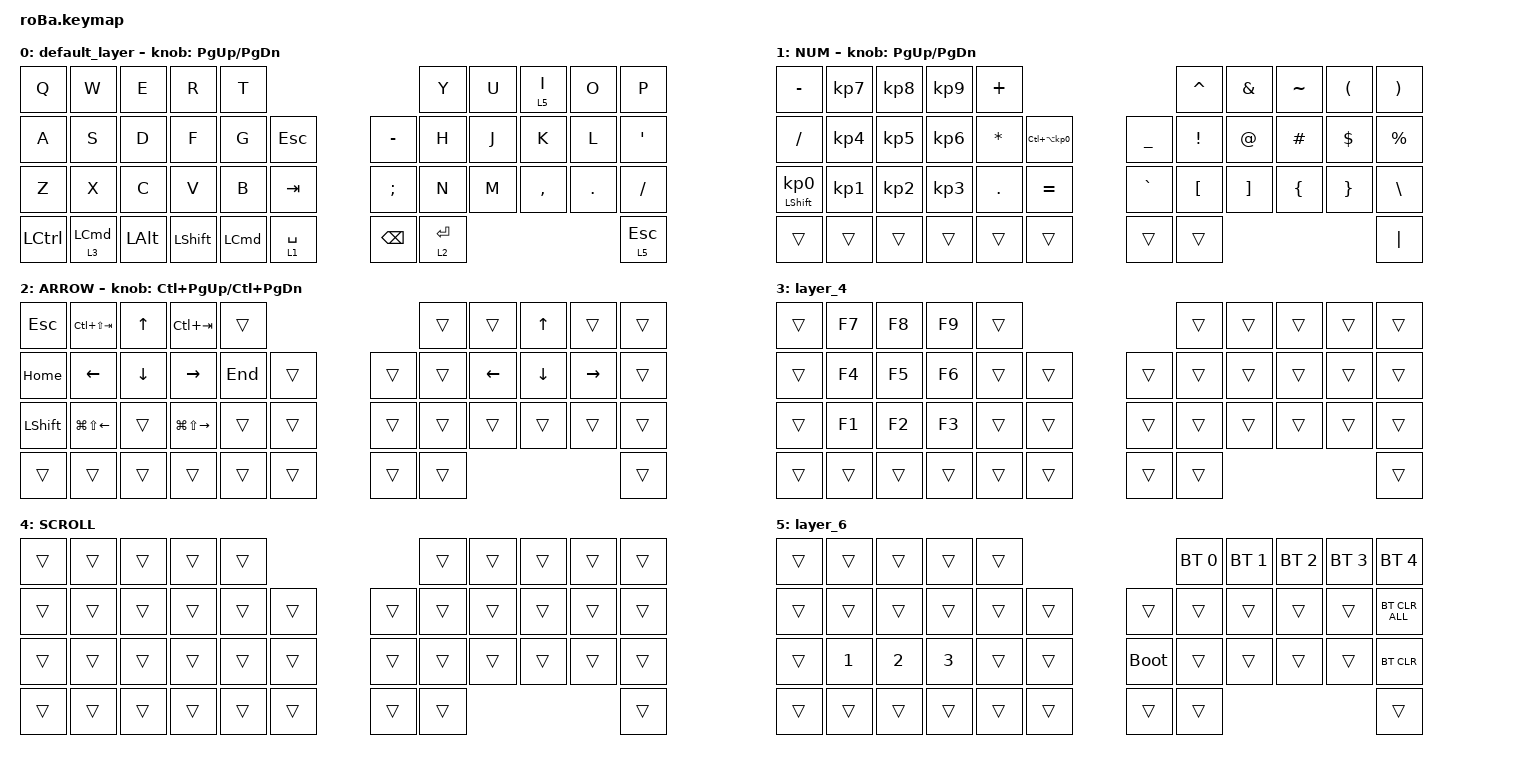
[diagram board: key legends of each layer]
#include <behaviors.dtsi>
#include <dt-bindings/zmk/bt.h>
#include <dt-bindings/zmk/keys.h>
#include <dt-bindings/zmk/pointing.h>

#define MOUSE 4
#define SCROLL 5
#define NUM 6

&mt {
    flavor = "balanced";
    quick-tap-ms = <0>;
};

/ {
    combos {
        compatible = "zmk,combos";

        tab {
            bindings = <&kp TAB>;
            key-positions = <11 12>;
        };

        shift_tab {
            bindings = <&kp LS(TAB)>;
            key-positions = <12 13>;
        };

        muhennkann {
            bindings = <&to_layer_0 INT_MUHENKAN>;
            key-positions = <11 10>;
        };

        double_quotation {
            bindings = <&kp DOUBLE_QUOTES>;
            key-positions = <20 21>;
        };

        eq {
            bindings = <&kp EQUAL>;
            key-positions = <24 25>;
        };

        left {
            bindings = <&mkp MB1>;
            key-positions = <18 19>;
        };

        right {
            bindings = <&mkp MB2>;
            key-positions = <19 20>;
        };

        middle {
            bindings = <&mkp MB3>;
            key-positions = <18 19 20>;
        };
    };

    macros {
        to_layer_0: to_layer_0 {
            compatible = "zmk,behavior-macro-one-param";
            #binding-cells = <1>;
            bindings = <&to 0 &macro_param_1to1 &kp MACRO_PLACEHOLDER>;
            label = "TO_LAYER_0";
        };
    };

    behaviors {
        lt_to_layer_0: lt_to_layer_0 {
            compatible = "zmk,behavior-hold-tap";
            label = "LAYER_TAP_TO_0";
            bindings = <&mo>, <&to_layer_0>;

            #binding-cells = <2>;
            tapping-term-ms = <200>;
            quick-tap-ms = <200>;
        };
    };

    keymap {
        compatible = "zmk,keymap";

        default_layer {
            bindings = <
&kp Q      &kp W               &kp E         &kp R           &kp T                                                        &kp Y        &kp U  &lt 5 I    &kp O    &kp P
&kp A      &kp S               &kp D         &kp F           &kp G             &kp ESCAPE                  &kp MINUS      &kp H        &kp J  &kp K      &kp L    &kp SQT
&kp Z      &kp X               &kp C         &kp V           &kp B             &kp TAB                     &kp SEMICOLON  &kp N        &kp M  &kp COMMA  &kp DOT  &kp SLASH
&kp LCTRL  &lt 3 LEFT_COMMAND  &kp LEFT_ALT  &kp LEFT_SHIFT  &kp LEFT_COMMAND  &lt_to_layer_0 1 SPACE      &kp BACKSPACE  &lt 2 ENTER                             &lt 5 ESC
            >;

            sensor-bindings = <&inc_dec_kp PAGE_UP PAGE_DOWN>;
        };

        NUM {
            bindings = <
&kp MINUS                   &kp KP_NUMBER_7  &kp KP_NUMBER_8  &kp KP_NUMBER_9  &kp PLUS                                                   &kp CARET         &kp AMPERSAND      &kp TILDE       &kp LEFT_PARENTHESIS  &kp RIGHT_PARENTHESIS
&kp SLASH                   &kp KP_NUMBER_4  &kp KP_NUMBER_5  &kp KP_NUMBER_6  &kp ASTERISK  &kp LC(LA(KP_NUMBER_0))      &kp UNDERSCORE  &kp EXCLAMATION   &kp AT_SIGN        &kp HASH        &kp DOLLAR            &kp PERCENT
&mt LEFT_SHIFT KP_NUMBER_0  &kp KP_NUMBER_1  &kp KP_NUMBER_2  &kp KP_NUMBER_3  &kp PERIOD    &kp EQUAL                    &kp GRAVE       &kp LEFT_BRACKET  &kp RIGHT_BRACKET  &kp LEFT_BRACE  &kp RIGHT_BRACE       &kp BACKSLASH
&trans                      &trans           &trans           &trans           &trans        &trans                       &trans          &trans                                                                     &kp PIPE
            >;

            sensor-bindings = <&inc_dec_kp PAGE_UP PAGE_DOWN>;
        };

        ARROW {
            bindings = <
&kp ESCAPE      &kp LC(LS(TAB))         &kp UP_ARROW    &kp LC(TAB)              &trans                       &trans  &trans    &kp UP_ARROW    &trans     &trans
&kp HOME        &kp LEFT_ARROW          &kp DOWN_ARROW  &kp RIGHT_ARROW          &kp END  &trans      &trans  &trans  &kp LEFT  &kp DOWN_ARROW  &kp RIGHT  &trans
&kp LEFT_SHIFT  &kp LG(LS(LEFT_ARROW))  &trans          &kp LG(LS(RIGHT_ARROW))  &trans   &trans      &trans  &trans  &trans    &trans          &trans     &trans
&trans          &trans                  &trans          &trans                   &trans   &trans      &trans  &trans                                       &trans
            >;

            sensor-bindings = <&inc_dec_kp LC(PAGE_UP) LC(PAGE_DOWN)>;
        };

        layer_4 {
            bindings = <
&trans  &kp F7  &kp F8  &kp F9  &trans                      &trans  &trans  &trans  &trans  &trans
&trans  &kp F4  &kp F5  &kp F6  &trans  &trans      &trans  &trans  &trans  &trans  &trans  &trans
&trans  &kp F1  &kp F2  &kp F3  &trans  &trans      &trans  &trans  &trans  &trans  &trans  &trans
&trans  &trans  &trans  &trans  &trans  &trans      &trans  &trans                          &trans
            >;
        };

        SCROLL {
            bindings = <
&trans  &trans  &trans  &trans  &trans                      &trans  &trans  &trans  &trans  &trans
&trans  &trans  &trans  &trans  &trans  &trans      &trans  &trans  &trans  &trans  &trans  &trans
&trans  &trans  &trans  &trans  &trans  &trans      &trans  &trans  &trans  &trans  &trans  &trans
&trans  &trans  &trans  &trans  &trans  &trans      &trans  &trans                          &trans
            >;
        };

        layer_6 {
            bindings = <
&trans  &trans        &trans        &trans        &trans                           &bt BT_SEL 0  &bt BT_SEL 1  &bt BT_SEL 2  &bt BT_SEL 3  &bt BT_SEL 4
&trans  &trans        &trans        &trans        &trans  &trans      &trans       &trans        &trans        &trans        &trans        &bt BT_CLR_ALL
&trans  &kp NUMBER_1  &kp NUMBER_2  &kp NUMBER_3  &trans  &trans      &bootloader  &trans        &trans        &trans        &trans        &bt BT_CLR
&trans  &trans        &trans        &trans        &trans  &trans      &trans       &trans                                                  &trans
            >;
        };
    };
};
